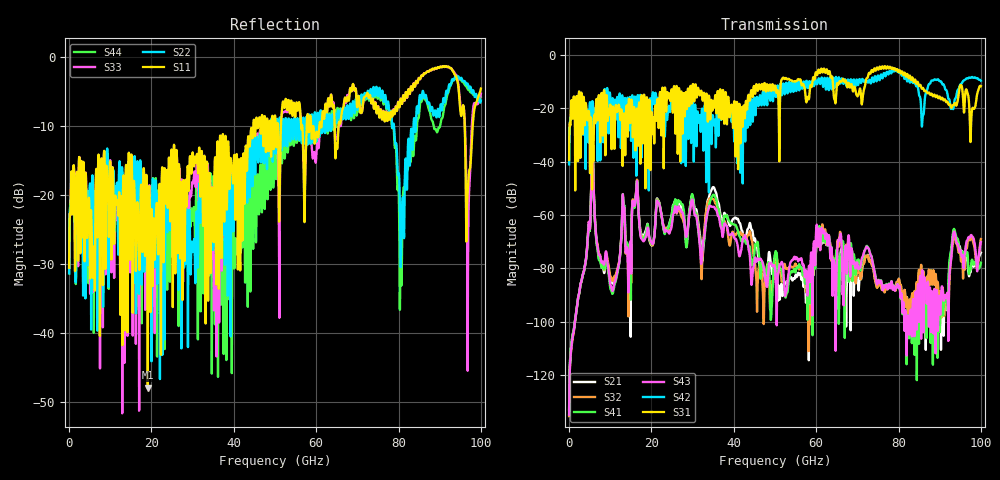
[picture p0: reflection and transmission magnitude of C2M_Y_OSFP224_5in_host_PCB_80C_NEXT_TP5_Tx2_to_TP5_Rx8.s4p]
# GHz S RI R 45
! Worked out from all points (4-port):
!   4000 points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, 25 MHz to 100 GHz, reference 45 ohm
!   strongest paths, dB at 25 MHz, 25.02 GHz, 50.02 GHz, 75.03 GHz, 100 GHz:
!     S31: -39.4, -13.8, -11.5, -5.4, -11.7
!     S42: -41.0, -17.7, -13.1, -7.8, -9.7
!     S43: -134.8, -62.8, -80.3, -84.9, -70.2
!     S41: -132.6, -59.4, -74.5, -84.7, -77.9
!     S32: -135.3, -62.3, -78.5, -86.6, -69.0
!     S21: -133.1, -58.9, -75.0, -86.5, -74.1
!   lowest |S11| = -47.9 dB at 19.12 GHz (marker M1), VSWR 1.01, Z = 45.3 + j0.14 ohm
!   |S11| at or under -10 dB: start of sweep to 44.74 GHz; 59.32 GHz to 60.78 GHz (1.455 GHz wide, 2.42 % of centre); 96.08 GHz to 98.01 GHz (1.929 GHz wide, 1.99 % of centre)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
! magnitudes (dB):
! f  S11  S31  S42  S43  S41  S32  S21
! 25 MHz  -30.5  -39.4  -41.0  -134.8  -132.6  -135.3  -133.1
! 3.8 GHz  -27.5  -26.4  -19.0  -79.4  -79.6  -79.5  -79.7
! 5.725 GHz  -31.7  -30.1  -17.8  -39.3  -39.3  -39.2  -39.3
! 8.225 GHz  -33.0  -30.3  -23.4  -77.5  -79.0  -78.4  -79.5
! 19.12 GHz  -47.9  -23.8  -20.4  -64.7  -63.7  -65.0  -63.7
! 80.58 GHz  -6.0  -7.0  -6.7  -90.6  -91.0  -86.3  -86.5
! 100 GHz  -4.6  -11.7  -9.7  -70.2  -77.9  -69.0  -74.1
